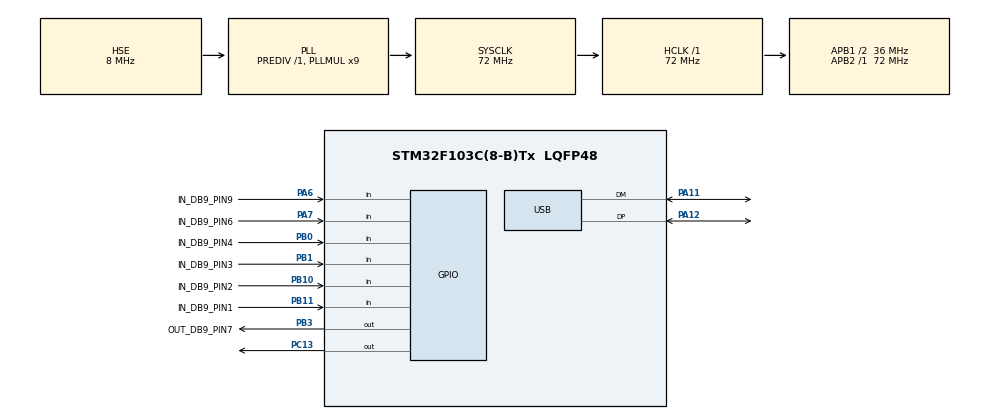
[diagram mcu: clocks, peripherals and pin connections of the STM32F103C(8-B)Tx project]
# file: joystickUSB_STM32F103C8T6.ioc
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Mcu.Family=STM32F1
Mcu.Name=STM32F103C(8-B)Tx
Mcu.Package=LQFP48
NVIC.PriorityGroup=NVIC_PRIORITYGROUP_4
NVIC.TIM3_IRQn=true\:0\:0\:false\:false\:true\:true\:true\:true
NVIC.USB_LP_CAN1_RX0_IRQn=true\:0\:0\:false\:false\:true\:false\:true\:true
PA11.Mode=Device
PA11.Signal=USB_DM
PA12.Mode=Device
PA12.Signal=USB_DP
PA13.Mode=Serial_Wire
PA13.Signal=SYS_JTMS-SWDIO
PA14.Mode=Serial_Wire
PA14.Signal=SYS_JTCK-SWCLK
PA6.GPIO_Label=IN_DB9_PIN9
PA6.Signal=GPIO_Input
PA7.GPIO_Label=IN_DB9_PIN6
PA7.Signal=GPIO_Input
PB0.GPIO_Label=IN_DB9_PIN4
PB0.Signal=GPIO_Input
PB1.GPIO_Label=IN_DB9_PIN3
PB1.Signal=GPIO_Input
PB10.GPIO_Label=IN_DB9_PIN2
PB10.Signal=GPIO_Input
PB11.GPIO_Label=IN_DB9_PIN1
PB11.Signal=GPIO_Input
PB3.GPIO_Label=OUT_DB9_PIN7
PB3.Signal=GPIO_Output
PC13-TAMPER-RTC.Signal=GPIO_Output
PD0-OSC_IN.Mode=HSE-External-Oscillator
PD0-OSC_IN.Signal=RCC_OSC_IN
PD1-OSC_OUT.Mode=HSE-External-Oscillator
PD1-OSC_OUT.Signal=RCC_OSC_OUT
ProjectManager.HeapSize=0x400
ProjectManager.StackSize=0x400
ProjectManager.TargetToolchain=STM32CubeIDE
RCC.AHBFreq_Value=72000000
RCC.APB1CLKDivider=RCC_HCLK_DIV2
RCC.APB1Freq_Value=36000000
RCC.APB1TimFreq_Value=72000000
RCC.APB2Freq_Value=72000000
RCC.APB2TimFreq_Value=72000000
RCC.HCLKFreq_Value=72000000
RCC.PLLMUL=RCC_PLL_MUL9
RCC.SYSCLKFreq_VALUE=72000000
RCC.SYSCLKSource=RCC_SYSCLKSOURCE_PLLCLK
RCC.USBFreq_Value=48000000
RCC.USBPrescaler=RCC_USBCLKSOURCE_PLL_DIV1_5
TIM3.Period=1000-1
TIM3.Prescaler=1440-1
USB_DEVICE.CLASS_NAME_FS=HID
USB_DEVICE.LANGID_STRING=1040
USB_DEVICE.MANUFACTURER_STRING=Lucho Inc.
USB_DEVICE.PRODUCT_STRING_HID_FS=Multi USB joystick interface
USB_DEVICE.VirtualMode=Hid
USB_DEVICE.VirtualModeFS=Hid_FS
VP_TIM3_VS_ClockSourceINT.Mode=Internal
VP_USB_DEVICE_VS_USB_DEVICE_HID_FS.Mode=HID_FS
board=custom

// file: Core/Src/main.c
/* USER CODE BEGIN Header */
/**
  ******************************************************************************
  * @file           : main.c
  * @brief          : Main program body
  ******************************************************************************
  * @attention
  *
  * Copyright (c) 2024 STMicroelectronics.
  * All rights reserved.
  *
  * This software is licensed under terms that can be found in the LICENSE file
  * in the root directory of this software component.
  * If no LICENSE file comes with this software, it is provided AS-IS.
  *
  ******************************************************************************
  */
/* USER CODE END Header */
#include "main.h"
#include "tim.h"
#include "usb_device.h"
#include "gpio.h"

/* USER CODE BEGIN Includes */
#include "usbd_hid.h"
/* USER CODE END Includes */

/* USER CODE BEGIN PTD */
typedef struct{
	uint8_t botones; //  | mode | Z | Y | X | start | C | B | A |
	int8_t ejeX;
	int8_t ejeY;
}T_REPORTE_USB;
/* USER CODE END PTD */

/* USER CODE BEGIN PV */

//variables USB
extern USBD_HandleTypeDef hUsbDeviceFS;
T_REPORTE_USB reporteUsb = {0};
//variables timer
uint8_t flag_tim3 = 0;
//variables joystick
uint8_t boton_up;
uint8_t boton_down;
uint8_t boton_left;
uint8_t boton_right;
uint8_t	boton_a;
uint8_t boton_b;
uint8_t boton_c;
uint8_t boton_x;
uint8_t boton_y;
uint8_t boton_z;
uint8_t boton_start;
uint8_t boton_mode;
uint8_t joystickTipe = 0; //0 -> no hay joystick; 3 -> de 3 botones; 6 -> de 6 botones.

/* USER CODE END PV */

void SystemClock_Config(void);

int main(void)
{

  /* MCU Configuration--------------------------------------------------------*/

  /* Reset of all peripherals, Initializes the Flash interface and the Systick. */
  HAL_Init();

  /* Configure the system clock */
  SystemClock_Config();

  /* Initialize all configured peripherals */
  MX_GPIO_Init();
  MX_USB_DEVICE_Init();
  MX_TIM3_Init();
  /* USER CODE BEGIN 2 */

  HAL_GPIO_WritePin(GPIOC, GPIO_PIN_13, 1);
  HAL_GPIO_WritePin(OUT_DB9_PIN7_GPIO_Port, OUT_DB9_PIN7_Pin, 1); //IDLE

  HAL_TIM_Base_Start_IT(&htim3);

  /* USER CODE END 2 */

  /* Infinite loop */
  /* USER CODE BEGIN WHILE */
  while (1)
  {
	  if (flag_tim3 != 0){

		  reporteUsb.ejeX = 0;
		  reporteUsb.ejeY = 0;
		  reporteUsb.botones = 0;
		  joystickTipe = 0;
		  HAL_GPIO_WritePin(OUT_DB9_PIN7_GPIO_Port, OUT_DB9_PIN7_Pin, 0); //1 low
		  HAL_GPIO_WritePin(OUT_DB9_PIN7_GPIO_Port, OUT_DB9_PIN7_Pin, 1); //1 high
		  HAL_GPIO_WritePin(OUT_DB9_PIN7_GPIO_Port, OUT_DB9_PIN7_Pin, 0); //2 low
		  HAL_GPIO_WritePin(OUT_DB9_PIN7_GPIO_Port, OUT_DB9_PIN7_Pin, 1); //2 high

		  if ( !HAL_GPIO_ReadPin(IN_DB9_PIN1_GPIO_Port, IN_DB9_PIN1_Pin) ){ //UP
			  reporteUsb.ejeY = -128;
		  }
		  if ( !HAL_GPIO_ReadPin(IN_DB9_PIN2_GPIO_Port, IN_DB9_PIN2_Pin) ){ //DOWN
			  reporteUsb.ejeY = 127;
		  }
		  if ( !HAL_GPIO_ReadPin(IN_DB9_PIN3_GPIO_Port, IN_DB9_PIN3_Pin) ){ //LEFT
			  reporteUsb.ejeX = -128;
		  }
		  if ( !HAL_GPIO_ReadPin(IN_DB9_PIN4_GPIO_Port, IN_DB9_PIN4_Pin) ){ //RIGHT
			  reporteUsb.ejeX = 127;
		  }
		  if ( !HAL_GPIO_ReadPin(IN_DB9_PIN6_GPIO_Port, IN_DB9_PIN6_Pin) ){ //B
			  reporteUsb.botones |= 0b10;
		  }
		  if ( !HAL_GPIO_ReadPin(IN_DB9_PIN9_GPIO_Port, IN_DB9_PIN9_Pin) ){ //C
			  reporteUsb.botones |= 0b100;
		  }

		  HAL_GPIO_WritePin(OUT_DB9_PIN7_GPIO_Port, OUT_DB9_PIN7_Pin, 0); //3 low

		  if ( !HAL_GPIO_ReadPin(IN_DB9_PIN3_GPIO_Port, IN_DB9_PIN3_Pin) && !HAL_GPIO_ReadPin(IN_DB9_PIN4_GPIO_Port, IN_DB9_PIN4_Pin) ){ //deteccion de 3 botones
			  joystickTipe = 3;
		  }
		  if ( !HAL_GPIO_ReadPin(IN_DB9_PIN1_GPIO_Port, IN_DB9_PIN1_Pin) && !HAL_GPIO_ReadPin(IN_DB9_PIN2_GPIO_Port, IN_DB9_PIN2_Pin) ){ //deteccion de 6 botones
			  joystickTipe = 6;
		  }
		  if ( !HAL_GPIO_ReadPin(IN_DB9_PIN6_GPIO_Port, IN_DB9_PIN6_Pin) ){ //A
			  reporteUsb.botones |= 0b1;
		  }
		  if ( !HAL_GPIO_ReadPin(IN_DB9_PIN9_GPIO_Port, IN_DB9_PIN9_Pin) ){ //start
			  reporteUsb.botones |= 0b1000;
		  }

		  HAL_GPIO_WritePin(OUT_DB9_PIN7_GPIO_Port, OUT_DB9_PIN7_Pin, 1); //3 high
		  HAL_GPIO_WritePin(OUT_DB9_PIN7_GPIO_Port, OUT_DB9_PIN7_Pin, 1); //3 high
		  HAL_GPIO_WritePin(OUT_DB9_PIN7_GPIO_Port, OUT_DB9_PIN7_Pin, 1); //3 high

		  if ( !HAL_GPIO_ReadPin(IN_DB9_PIN1_GPIO_Port, IN_DB9_PIN1_Pin) ){ //Z
			  reporteUsb.botones |= 0b1000000;
		  }
		  if ( !HAL_GPIO_ReadPin(IN_DB9_PIN2_GPIO_Port, IN_DB9_PIN2_Pin) ){ //Y
			  reporteUsb.botones |= 0b100000;
		  }
		  if ( !HAL_GPIO_ReadPin(IN_DB9_PIN3_GPIO_Port, IN_DB9_PIN3_Pin) ){ //X
			  reporteUsb.botones |= 0b10000;
		  }
		  if ( !HAL_GPIO_ReadPin(IN_DB9_PIN4_GPIO_Port, IN_DB9_PIN4_Pin) ){ //mode
			  reporteUsb.botones |= 0b10000000;
		  }

		  HAL_GPIO_WritePin(OUT_DB9_PIN7_GPIO_Port, OUT_DB9_PIN7_Pin, 0); //4 low
		  HAL_GPIO_WritePin(OUT_DB9_PIN7_GPIO_Port, OUT_DB9_PIN7_Pin, 1); //4 high

		  if (joystickTipe != 0){
			  USBD_HID_SendReport(&hUsbDeviceFS, (uint8_t*)&reporteUsb, 3);
		  }

		  flag_tim3 = 0;
	  }

//	  HAL_Delay(500);
//	  reporteUsb.ejeX = 127;
//	  USBD_HID_SendReport(&hUsbDeviceFS, (uint8_t*)&reporteUsb, 3);
//	  HAL_Delay(500);
//	  reporteUsb.ejeX = -128;
//	  USBD_HID_SendReport(&hUsbDeviceFS, (uint8_t*)&reporteUsb, 3);
//	  HAL_Delay(500);
//	  reporteUsb.ejeX = 0;
//	  reporteUsb.ejeY = -128;
//	  USBD_HID_SendReport(&hUsbDeviceFS, (uint8_t*)&reporteUsb, 3);
//	  HAL_Delay(500);
//	  reporteUsb.ejeY = 127;
//	  USBD_HID_SendReport(&hUsbDeviceFS, (uint8_t*)&reporteUsb, 3);
//	  HAL_Delay(500);
//	  reporteUsb.ejeY = 0;
//	  reporteUsb.botones = 0x02;
//	  USBD_HID_SendReport(&hUsbDeviceFS, (uint8_t*)&reporteUsb, 3);
//	  HAL_Delay(500);
//	  reporteUsb.botones = 0x04;
//	  USBD_HID_SendReport(&hUsbDeviceFS, (uint8_t*)&reporteUsb, 3);
//	  HAL_Delay(500);
//	  reporteUsb.botones = 0x08;
//	  USBD_HID_SendReport(&hUsbDeviceFS, (uint8_t*)&reporteUsb, 3);
//	  reporteUsb.botones = 0;

    /* USER CODE END WHILE */

  }
}

void SystemClock_Config(void)
{
  RCC_OscInitTypeDef RCC_OscInitStruct = {0};
  RCC_ClkInitTypeDef RCC_ClkInitStruct = {0};
  RCC_PeriphCLKInitTypeDef PeriphClkInit = {0};

  /** Initializes the RCC Oscillators according to the specified parameters
  * in the RCC_OscInitTypeDef structure.
  */
  RCC_OscInitStruct.OscillatorType = RCC_OSCILLATORTYPE_HSE;
  RCC_OscInitStruct.HSEState = RCC_HSE_ON;
  RCC_OscInitStruct.HSEPredivValue = RCC_HSE_PREDIV_DIV1;
  RCC_OscInitStruct.HSIState = RCC_HSI_ON;
  RCC_OscInitStruct.PLL.PLLState = RCC_PLL_ON;
  RCC_OscInitStruct.PLL.PLLSource = RCC_PLLSOURCE_HSE;
  RCC_OscInitStruct.PLL.PLLMUL = RCC_PLL_MUL9;
  if (HAL_RCC_OscConfig(&RCC_OscInitStruct) != HAL_OK)
  {
    Error_Handler();
  }

  /** Initializes the CPU, AHB and APB buses clocks
  */
  RCC_ClkInitStruct.ClockType = RCC_CLOCKTYPE_HCLK|RCC_CLOCKTYPE_SYSCLK
                              |RCC_CLOCKTYPE_PCLK1|RCC_CLOCKTYPE_PCLK2;
  RCC_ClkInitStruct.SYSCLKSource = RCC_SYSCLKSOURCE_PLLCLK;
  RCC_ClkInitStruct.AHBCLKDivider = RCC_SYSCLK_DIV1;
  RCC_ClkInitStruct.APB1CLKDivider = RCC_HCLK_DIV2;
  RCC_ClkInitStruct.APB2CLKDivider = RCC_HCLK_DIV1;

  if (HAL_RCC_ClockConfig(&RCC_ClkInitStruct, FLASH_LATENCY_2) != HAL_OK)
  {
    Error_Handler();
  }
  PeriphClkInit.PeriphClockSelection = RCC_PERIPHCLK_USB;
  PeriphClkInit.UsbClockSelection = RCC_USBCLKSOURCE_PLL_DIV1_5;
  if (HAL_RCCEx_PeriphCLKConfig(&PeriphClkInit) != HAL_OK)
  {
    Error_Handler();
  }
}

/* USER CODE BEGIN 4 */
void HAL_TIM_PeriodElapsedCallback(TIM_HandleTypeDef *htim){
	flag_tim3 = 1;
}
/* USER CODE END 4 */

void Error_Handler(void)
{
  __disable_irq();
  while (1)
  {
  }
}
